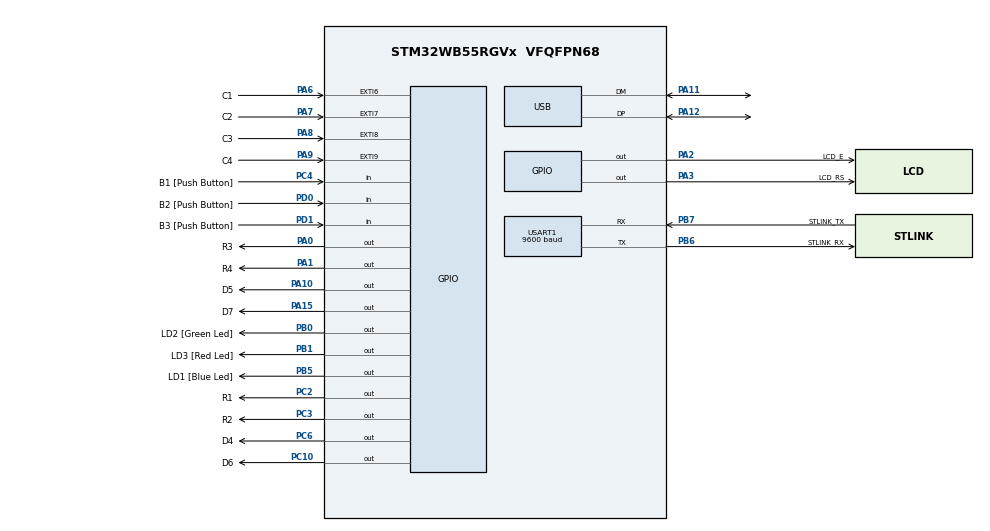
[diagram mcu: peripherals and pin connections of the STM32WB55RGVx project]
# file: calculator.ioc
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Mcu.Family=STM32WB
Mcu.Name=STM32WB55RGVx
Mcu.Package=VFQFPN68
NVIC.EXTI9_5_IRQn=true\:0\:0\:false\:false\:true\:true\:true\:true
NVIC.PriorityGroup=NVIC_PRIORITYGROUP_4
OSC_IN.Mode=HSE-External-Oscillator
OSC_IN.Signal=RCC_OSC_IN
OSC_OUT.Mode=HSE-External-Oscillator
OSC_OUT.Signal=RCC_OSC_OUT
PA0.GPIO_Label=R3
PA0.PinState=GPIO_PIN_SET
PA0.Signal=GPIO_Output
PA1.GPIO_Label=R4
PA1.PinState=GPIO_PIN_SET
PA1.Signal=GPIO_Output
PA10.GPIO_Label=D5
PA10.Signal=GPIO_Output
PA11.Mode=Device
PA11.Signal=USB_DM
PA12.Mode=Device
PA12.Signal=USB_DP
PA13.GPIO_Label=JTMS
PA13.Mode=Trace_Asynchronous_SW
PA13.Signal=SYS_JTMS-SWDIO
PA14.GPIO_Label=JTCK
PA14.Mode=Trace_Asynchronous_SW
PA14.Signal=SYS_JTCK-SWCLK
PA15.GPIO_Label=D7
PA15.Signal=GPIO_Output
PA2.GPIO_Label=LCD_E
PA2.Signal=GPIO_Output
PA3.GPIO_Label=LCD_RS
PA3.Signal=GPIO_Output
PA6.GPIO_Label=C1
PA6.GPIO_PuPd=GPIO_PULLDOWN
PA6.Signal=GPXTI6
PA7.GPIO_Label=C2
PA7.GPIO_PuPd=GPIO_PULLDOWN
PA7.Signal=GPXTI7
PA8.GPIO_Label=C3
PA8.GPIO_PuPd=GPIO_PULLDOWN
PA8.Signal=GPXTI8
PA9.GPIO_Label=C4
PA9.GPIO_PuPd=GPIO_PULLDOWN
PA9.Signal=GPXTI9
PB0.GPIO_Label=LD2 [Green Led]
PB0.Signal=GPIO_Output
PB1.GPIO_Label=LD3 [Red Led]
PB1.Signal=GPIO_Output
PB3.GPIO_Label=JTDO
PB3.Mode=Trace_Asynchronous_SW
PB3.Signal=SYS_JTDO-SWO
PB5.GPIO_Label=LD1 [Blue Led]
PB5.Signal=GPIO_Output
PB6.GPIO_Label=STLINK_RX
PB6.GPIO_PuPd=GPIO_PULLUP
PB6.Mode=Asynchronous
PB6.Signal=USART1_TX
PB7.GPIO_Label=STLINK_TX
PB7.GPIO_PuPd=GPIO_PULLUP
PB7.Mode=Asynchronous
PB7.Signal=USART1_RX
PC10.GPIO_Label=D6
PC10.Signal=GPIO_Output
PC13.Mode=SYS_WakeUp1
PC13.Signal=SYS_WKUP2
PC14-OSC32_IN.Mode=LSE-External-Oscillator
PC14-OSC32_IN.Signal=RCC_OSC32_IN
PC15-OSC32_OUT.Mode=LSE-External-Oscillator
PC15-OSC32_OUT.Signal=RCC_OSC32_OUT
PC2.GPIO_Label=R1
PC2.PinState=GPIO_PIN_SET
PC2.Signal=GPIO_Output
PC3.GPIO_Label=R2
PC3.PinState=GPIO_PIN_SET
PC3.Signal=GPIO_Output
PC4.GPIO_Label=B1 [Push Button]
PC4.Signal=GPIO_Input
PC6.GPIO_Label=D4
PC6.Signal=GPIO_Output
PD0.GPIO_Label=B2 [Push Button]
PD0.Signal=GPIO_Input
PD1.GPIO_Label=B3 [Push Button]
PD1.Signal=GPIO_Input
ProjectManager.HeapSize=0x200
ProjectManager.StackSize=0x400
ProjectManager.TargetToolchain=Makefile
RCC.ADCFreq_Value=48000000
RCC.AHB2CLKDivider=RCC_SYSCLK_DIV2
RCC.AHBFreq_Value=64000000
RCC.APB1Freq_Value=64000000
RCC.APB1TimFreq_Value=64000000
RCC.APB2Freq_Value=64000000
RCC.APB2TimFreq_Value=64000000
RCC.APB3Freq_Value=24000000
RCC.CortexFreq_Value=64000000
RCC.HCLKFreq_Value=64000000
RCC.HSE_VALUE=48000000
RCC.HSI48_VALUE=48000000
RCC.HSI_VALUE=16000000
RCC.PLLN=32
RCC.PLLSAI1N=24
RCC.SMPSCLockSelectionVirtual=RCC_SMPSCLKSOURCE_HSI
RCC.SMPSCLockSelectionVirtualVirtual=RCC_SMPSCLKSOURCE_HSI
RCC.SMPSDivider=1
RCC.SYSCLKFreq_VALUE=64000000
RCC.SYSCLKSource=RCC_SYSCLKSOURCE_PLLCLK
RCC.USBFreq_Value=48000000
RCC.VCOOutputFreq_Value=128000000
USART1.BaudRate=9600
USART1.VirtualMode-Asynchronous=VM_ASYNC
USART1.WordLength=WORDLENGTH_8B
VP_MEMORYMAP_VS_MEMORYMAP.Mode=CurAppReg
board=P-NUCLEO-WB55-NUCLEO

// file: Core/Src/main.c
/* USER CODE BEGIN Header */
/**
  ******************************************************************************
  * @file           : main.c
  * @brief          : Main program body
  ******************************************************************************
  * @attention
  *
  * Copyright (c) 2023 STMicroelectronics.
  * All rights reserved.
  *
  * This software is licensed under terms that can be found in the LICENSE file
  * in the root directory of this software component.
  * If no LICENSE file comes with this software, it is provided AS-IS.
  *
  ******************************************************************************
  */
/* USER CODE END Header */
#include "main.h"
#include "memorymap.h"
#include "usart.h"
#include "usb.h"
#include "gpio.h"

/* USER CODE BEGIN Includes */
#include <stdio.h>
#include <stdlib.h>
#include <string.h>
#include <LCD16x2.h>
#include <DWT_Delay.h>
/* USER CODE END Includes */

/* USER CODE BEGIN PV */
GPIO_InitTypeDef myGPIO_InitStruct = {0};
uint32_t previousTimeInms = 0;
uint32_t currentTimeInms = 0;
uint8_t key_ascii = 0;
char    *key_char;
int     result;
char msg[32];
char result_disp[10];
char *operand_buf;
char *current_operator;
int result              = 0;
int operand;
int cursor_pos          = 1;
char* prev_key_char;
int char_count_bot      = 0;
int char_count_top      = 0;
int disp_pos            = 0;
int first_char_operand_seen  = 0;
int first_operand_seen  = 0;

/* USER CODE END PV */

void SystemClock_Config(void);
void PeriphCommonClock_Config(void);
void displayResult(void);

/* USER CODE BEGIN 0 */
// Sums the most recent operator and operand inputs with the current result value
// Allows continuous inputs from
void displayResult(void) {
  int operand = atoi(operand_buf); // convert from string to integer
  // 1) checks if last operator keypress is + or -
  // 2) perform integer calculation
  if (strcmp(current_operator, "+") == 0) {
    result = result + operand;
  }
  else if (strcmp(current_operator, "-") == 0) {
    result = result - operand;
  }
  LCD_Set_Cursor(2, 1); // set cursor to second row which contains the result of inputs
  sprintf(result_disp, "%d", result); // convert integer result to char* type
  LCD_Write_String(result_disp); // send operand character to LCD
  char_count_bot = strlen(result_disp); // track the number of characters displayed on second row
  memset(operand_buf,0,strlen(operand_buf)); // reset operand buffer to all zeroes
  // reset operand and flag values
  operand = 0;
  first_char_operand_seen = 0;
}
/* USER CODE END 0 */

int main(void)
{
  /* USER CODE BEGIN 1 */

  current_operator        = malloc(strlen(key_char)+1);
  operand_buf             = malloc(strlen(key_char)+1);

  /* USER CODE END 1 */

  /* MCU Configuration--------------------------------------------------------*/

  /* Reset of all peripherals, Initializes the Flash interface and the Systick. */
  HAL_Init();

  /* Configure the system clock */
  SystemClock_Config();

/* Configure the peripherals common clocks */
  PeriphCommonClock_Config();

  /* Initialize all configured peripherals */
  MX_GPIO_Init();
  MX_USART1_UART_Init();
  MX_USB_PCD_Init();
  MX_MEMORYMAP_Init();
  /* USER CODE BEGIN 2 */
  HAL_GPIO_WritePin(R1_GPIO_Port, R1_Pin, GPIO_PIN_SET);
  HAL_GPIO_WritePin(R2_GPIO_Port, R2_Pin, GPIO_PIN_SET);
  HAL_GPIO_WritePin(R3_GPIO_Port, R3_Pin, GPIO_PIN_SET);
  HAL_GPIO_WritePin(R4_GPIO_Port, R4_Pin, GPIO_PIN_SET);

  HAL_UART_Transmit(&huart1, (uint8_t*)"\033[0;0H", strlen("\033[0;0H"), HAL_MAX_DELAY);
  HAL_UART_Transmit(&huart1, (uint8_t*)"\033[2J", strlen("\033[2J"), HAL_MAX_DELAY);

  LCD_Init();
  LCD_Clear();
  LCD_Set_Cursor(1, 1);
  //LCD_Write_String("HI");
  //LCD_Set_Cursor(2, 1);
  //LCD_Write_String("FAREWELL");
  /* USER CODE END 2 */

  /* Infinite loop */
  /* USER CODE BEGIN WHILE */
  while (1)
  {

    if (key_ascii)
    {

      // "A" or "B" keypress: + and - operators, respectively
      if (((strcmp(key_char, "+")) == 0) || ((strcmp(key_char, "-")) == 0)) {
        if (first_operand_seen == 0) { // processes any additional operands/operator inputs after first two operands
          result = atoi(operand_buf);
        }
        else {
          displayResult(); // calc and display result of PREVIOUS operator/operand and CURRENT result
        }
        strcpy(current_operator, key_char); // get CURRENT operator keypress
        LCD_Set_Cursor(1, cursor_pos);
        LCD_Write_String(current_operator);
        cursor_pos          += 1;
        char_count_top      += 1; // increment total character count of top row
        first_operand_seen   = 1; // when first operator seen, we know the char buffer for the first operand is constructed
        first_char_operand_seen   = 0; // flag to know that next operand is new (for strcpy vs. strcat)
      }
      // "C" keypress: Clear LCD
      else if ((strcmp(key_char, "C")) == 0) {

        LCD_Home(); // Returns display to original position.
        LCD_Clear(); // Clear LCD values
        // Reset all counters/flags/buffers to starting position
        char_count_top = 0;
        char_count_bot = 0;
        disp_pos = 0;
        memset(operand_buf,0,strlen(operand_buf));
        memset(current_operator,0,strlen(current_operator));
        cursor_pos = 1;
        first_char_operand_seen = 0;
        first_operand_seen = 0;
        result = 0;
      }
      // "D" keypress: Equal Operator
      else if (((strcmp(key_char, "=")) == 0)) {
       displayResult();
       LCD_Home(); // Returns display to original position.
       LCD_Set_Cursor(2, 1);
      }
      // Bonus feature: * keypress manually shifts display register to right
      else if ((strcmp(key_char, "*")) == 0) {
        LCD_SR();
        disp_pos -= 1;
      }
      // Bonus feature: * keypress manually shifts display register to left
      else if ((strcmp(key_char, "#")) == 0) {
        LCD_SL();
        disp_pos += 1;
      }
      // 0 to 9 keypress
      else {
        // Store and build a single operand's characters in a buffer until operator key is pressed
        if ((first_char_operand_seen == 0)) {
          strcpy(operand_buf, key_char); // first char of operand will be copied into buffer instead of concatenated
          first_char_operand_seen = 1;
        }
        else if ((first_char_operand_seen == 1)) {
          strcat(operand_buf, key_char); // subsequent chars are concatenated
        }
        // Display the keypress char
        LCD_Set_Cursor(1, cursor_pos); // Set cursor position to top row
        cursor_pos = cursor_pos+1; // Shift cursor to right for display of current kepyress input
        LCD_Write_String(key_char); // send operand character to LCD
        char_count_top += 1; // increment total character count of top row
        // DEBUG: print char_count top
        sprintf(msg, "\r\nchar_count_top:  %d", char_count_top);
        HAL_UART_Transmit(&huart1, (uint8_t*)msg,  strlen(msg), HAL_MAX_DELAY);
        sprintf(msg, "\r\nchar_count_bot:  %d", char_count_bot);
        HAL_UART_Transmit(&huart1, (uint8_t*)msg,  strlen(msg), HAL_MAX_DELAY);
        // DEBUG: print char_count top
      }
      // Automatically shifts display if characters in top or bottom row reach max. displayable value
      if ((char_count_top >= 15 || char_count_bot >= 15)) {
        LCD_Set_Auto_Shift(1);
      }
      else {
        LCD_Set_Auto_Shift(0);
      }
      // DEBUG: Send operand ASCII character to USART
      sprintf(msg, "\r\nKeypad Button pressed:  %c", key_ascii);
      HAL_UART_Transmit(&huart1, (uint8_t*)msg, strlen(msg), HAL_MAX_DELAY);
      key_ascii = 0;
      // DEBUG: Send operand ASCII character to USART
    }
    /* USER CODE END WHILE */

  }
}

void SystemClock_Config(void)
{
  RCC_OscInitTypeDef RCC_OscInitStruct = {0};
  RCC_ClkInitTypeDef RCC_ClkInitStruct = {0};

  /** Configure LSE Drive Capability
  */
  HAL_PWR_EnableBkUpAccess();
  __HAL_RCC_LSEDRIVE_CONFIG(RCC_LSEDRIVE_MEDIUMHIGH);

  /** Configure the main internal regulator output voltage
  */
  __HAL_PWR_VOLTAGESCALING_CONFIG(PWR_REGULATOR_VOLTAGE_SCALE1);

  /** Initializes the RCC Oscillators according to the specified parameters
  * in the RCC_OscInitTypeDef structure.
  */
  RCC_OscInitStruct.OscillatorType = RCC_OSCILLATORTYPE_HSI|RCC_OSCILLATORTYPE_HSE
                              |RCC_OSCILLATORTYPE_LSE|RCC_OSCILLATORTYPE_MSI;
  RCC_OscInitStruct.HSEState = RCC_HSE_ON;
  RCC_OscInitStruct.LSEState = RCC_LSE_ON;
  RCC_OscInitStruct.HSIState = RCC_HSI_ON;
  RCC_OscInitStruct.MSIState = RCC_MSI_ON;
  RCC_OscInitStruct.HSICalibrationValue = RCC_HSICALIBRATION_DEFAULT;
  RCC_OscInitStruct.MSICalibrationValue = RCC_MSICALIBRATION_DEFAULT;
  RCC_OscInitStruct.MSIClockRange = RCC_MSIRANGE_6;
  RCC_OscInitStruct.PLL.PLLState = RCC_PLL_ON;
  RCC_OscInitStruct.PLL.PLLSource = RCC_PLLSOURCE_MSI;
  RCC_OscInitStruct.PLL.PLLM = RCC_PLLM_DIV1;
  RCC_OscInitStruct.PLL.PLLN = 32;
  RCC_OscInitStruct.PLL.PLLP = RCC_PLLP_DIV2;
  RCC_OscInitStruct.PLL.PLLR = RCC_PLLR_DIV2;
  RCC_OscInitStruct.PLL.PLLQ = RCC_PLLQ_DIV2;
  if (HAL_RCC_OscConfig(&RCC_OscInitStruct) != HAL_OK)
  {
    Error_Handler();
  }

  /** Configure the SYSCLKSource, HCLK, PCLK1 and PCLK2 clocks dividers
  */
  RCC_ClkInitStruct.ClockType = RCC_CLOCKTYPE_HCLK4|RCC_CLOCKTYPE_HCLK2
                              |RCC_CLOCKTYPE_HCLK|RCC_CLOCKTYPE_SYSCLK
                              |RCC_CLOCKTYPE_PCLK1|RCC_CLOCKTYPE_PCLK2;
  RCC_ClkInitStruct.SYSCLKSource = RCC_SYSCLKSOURCE_PLLCLK;
  RCC_ClkInitStruct.AHBCLKDivider = RCC_SYSCLK_DIV1;
  RCC_ClkInitStruct.APB1CLKDivider = RCC_HCLK_DIV1;
  RCC_ClkInitStruct.APB2CLKDivider = RCC_HCLK_DIV1;
  RCC_ClkInitStruct.AHBCLK2Divider = RCC_SYSCLK_DIV2;
  RCC_ClkInitStruct.AHBCLK4Divider = RCC_SYSCLK_DIV1;

  if (HAL_RCC_ClockConfig(&RCC_ClkInitStruct, FLASH_LATENCY_3) != HAL_OK)
  {
    Error_Handler();
  }

  /** Enable MSI Auto calibration
  */
  HAL_RCCEx_EnableMSIPLLMode();
}

void PeriphCommonClock_Config(void)
{
  RCC_PeriphCLKInitTypeDef PeriphClkInitStruct = {0};

  /** Initializes the peripherals clock
  */
  PeriphClkInitStruct.PeriphClockSelection = RCC_PERIPHCLK_SMPS;
  PeriphClkInitStruct.SmpsClockSelection = RCC_SMPSCLKSOURCE_HSI;
  PeriphClkInitStruct.SmpsDivSelection = RCC_SMPSCLKDIV_RANGE0;

  if (HAL_RCCEx_PeriphCLKConfig(&PeriphClkInitStruct) != HAL_OK)
  {
    Error_Handler();
  }
}

/* USER CODE BEGIN 4 */
void HAL_GPIO_EXTI_Callback(uint16_t GPIO_Pin)
{
  currentTimeInms = HAL_GetTick();
  if (currentTimeInms - previousTimeInms > 200) {
    myGPIO_InitStruct.Pin = C1_Pin|C2_Pin|C3_Pin|C4_Pin;
    myGPIO_InitStruct.Mode = GPIO_MODE_INPUT;
    myGPIO_InitStruct.Pull = GPIO_PULLDOWN;
    myGPIO_InitStruct.Speed = GPIO_SPEED_FREQ_LOW;
    HAL_GPIO_Init(GPIOA, &myGPIO_InitStruct);

    HAL_GPIO_WritePin(R1_GPIO_Port, R1_Pin, 1);
    HAL_GPIO_WritePin(R2_GPIO_Port, R2_Pin, 0);
    HAL_GPIO_WritePin(R3_GPIO_Port, R3_Pin, 0);
    HAL_GPIO_WritePin(R4_GPIO_Port, R4_Pin, 0);

    if(GPIO_Pin == C1_Pin && HAL_GPIO_ReadPin(C1_GPIO_Port, C1_Pin))
    {
      key_ascii = 49; //ASCII value of 1
      key_char  = "1";
    }
    else if(GPIO_Pin == C2_Pin && HAL_GPIO_ReadPin(C2_GPIO_Port, C2_Pin))
    {
      key_ascii = 50; //ASCII value of 2
      key_char  = "2";
    }
    else if(GPIO_Pin == C3_Pin && HAL_GPIO_ReadPin(C3_GPIO_Port, C3_Pin))
    {
      key_ascii = 51; //ASCII value of 3
      key_char  = "3";
    }
    else if(GPIO_Pin == C4_Pin && HAL_GPIO_ReadPin(C4_GPIO_Port, C4_Pin))
    {
      key_ascii = 65; //ASCII value of A
      key_char  = "+";
    }

    HAL_GPIO_WritePin(R1_GPIO_Port, R1_Pin, 0);
    HAL_GPIO_WritePin(R2_GPIO_Port, R2_Pin, 1);
    HAL_GPIO_WritePin(R3_GPIO_Port, R3_Pin, 0);
    HAL_GPIO_WritePin(R4_GPIO_Port, R4_Pin, 0);

    if(GPIO_Pin == C1_Pin && HAL_GPIO_ReadPin(C1_GPIO_Port, C1_Pin))
    {
      key_ascii = 52; //ASCII value of 4
      key_char  = "4";
    }
    else if(GPIO_Pin == C2_Pin && HAL_GPIO_ReadPin(C2_GPIO_Port, C2_Pin))
    {
      key_ascii = 53; //ASCII value of 5
      key_char  = "5";
    }
    else if(GPIO_Pin == C3_Pin && HAL_GPIO_ReadPin(C3_GPIO_Port, C3_Pin))
    {
      key_ascii = 54; //ASCII value of 6
      key_char  = "6";
    }
    else if(GPIO_Pin == C4_Pin && HAL_GPIO_ReadPin(C4_GPIO_Port, C4_Pin))
    {
      key_ascii = 66; //ASCII value of B
      key_char  = "-";
    }

    HAL_GPIO_WritePin(R1_GPIO_Port, R1_Pin, 0);
    HAL_GPIO_WritePin(R2_GPIO_Port, R2_Pin, 0);
    HAL_GPIO_WritePin(R3_GPIO_Port, R3_Pin, 1);
    HAL_GPIO_WritePin(R4_GPIO_Port, R4_Pin, 0);

    if(GPIO_Pin == C1_Pin && HAL_GPIO_ReadPin(C1_GPIO_Port, C1_Pin))
    {
      key_ascii = 55; //ASCII value of 7
      key_char  = "7";
    }
    else if(GPIO_Pin == C2_Pin && HAL_GPIO_ReadPin(C2_GPIO_Port, C2_Pin))
    {
      key_ascii = 56; //ASCII value of 8
      key_char  = "8";
    }
    else if(GPIO_Pin == C3_Pin && HAL_GPIO_ReadPin(C3_GPIO_Port, C3_Pin))
    {
      key_ascii = 57; //ASCII value of 9
      key_char  = "9";
    }
    else if(GPIO_Pin == C4_Pin && HAL_GPIO_ReadPin(C4_GPIO_Port, C4_Pin))
    {
      key_ascii = 67; //ASCII value of C
      key_char  = "C";
    }

    HAL_GPIO_WritePin(R1_GPIO_Port, R1_Pin, 0);
    HAL_GPIO_WritePin(R2_GPIO_Port, R2_Pin, 0);
    HAL_GPIO_WritePin(R3_GPIO_Port, R3_Pin, 0);
    HAL_GPIO_WritePin(R4_GPIO_Port, R4_Pin, 1);

    if(GPIO_Pin == C1_Pin && HAL_GPIO_ReadPin(C1_GPIO_Port, C1_Pin))
    {
      key_ascii = 42; //ASCII value of *
      key_char  = "*";
    }
    else if(GPIO_Pin == C2_Pin && HAL_GPIO_ReadPin(C2_GPIO_Port, C2_Pin))
    {
      key_ascii = 48; //ASCII value of 0
      key_char  = "0";
    }
    else if(GPIO_Pin == C3_Pin && HAL_GPIO_ReadPin(C3_GPIO_Port, C3_Pin))
    {
      key_ascii = 35; //ASCII value of #
      key_char  = "#";
    }
    else if(GPIO_Pin == C4_Pin && HAL_GPIO_ReadPin(C4_GPIO_Port, C4_Pin))
    {
      key_ascii = 68; //ASCII value of D
      key_char  = "=";
    }

    HAL_GPIO_WritePin(R1_GPIO_Port, R1_Pin, 1);
    HAL_GPIO_WritePin(R2_GPIO_Port, R2_Pin, 1);
    HAL_GPIO_WritePin(R3_GPIO_Port, R3_Pin, 1);
    HAL_GPIO_WritePin(R4_GPIO_Port, R4_Pin, 1);

    /*Configure GPIO pins : PB6 PB7 PB8 PB9 back to EXTI*/
    myGPIO_InitStruct.Mode = GPIO_MODE_IT_RISING;
    myGPIO_InitStruct.Pull = GPIO_PULLDOWN;
    HAL_GPIO_Init(C1_GPIO_Port, &myGPIO_InitStruct);

    previousTimeInms = currentTimeInms;
  }
}
/* USER CODE END 4 */

void Error_Handler(void)
{
  __disable_irq();
  while (1)
  {
  }
}
